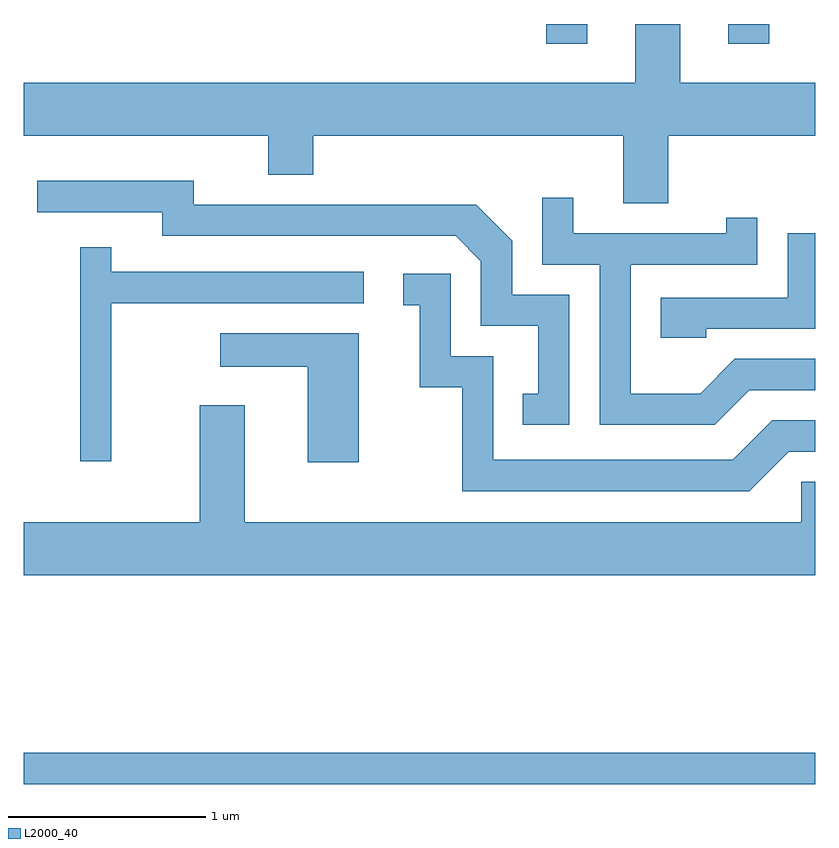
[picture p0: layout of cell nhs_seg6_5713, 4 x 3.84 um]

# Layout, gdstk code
import gdstk
lib = gdstk.Library(unit=1e-6, precision=1e-09)
def R(c, l, rs):  # rectangles x0, y0, x1, y1
    for r in rs: c.add(gdstk.rectangle(r[:2], r[2:], *l))
def P(c, l, *ps):  # polygons
    for p in ps: c.add(gdstk.Polygon(p, *l))
L2000_40 = (2000, 40)

nhs_seg6_5713 = lib.new_cell('nhs_seg6_5713')
R(nhs_seg6_5713, L2000_40, [(359.611,1542.321,363.611,1542.479), (362.251,1546.061,362.459,1546.162), (363.171,1546.061,363.379,1546.162)])
P(nhs_seg6_5713, L2000_40, [(362.869,1545.596),(363.611,1545.596),(363.611,1545.864),(362.929,1545.864),(362.929,1546.162),(362.701,1546.162),(362.701,1545.864),(359.611,1545.864),(359.611,1545.596),(360.846,1545.596),(360.846,1545.401),(361.074,1545.401),(361.074,1545.596),(362.641,1545.596),(362.641,1545.256),(362.869,1545.256)],
  [(362.369,1544.794),(362.079,1544.794),(362.079,1545.067),(361.897,1545.249),(360.469,1545.249),(360.469,1545.369),(359.678,1545.369),(359.678,1545.211),(360.311,1545.211),(360.311,1545.091),(361.794,1545.091),(361.921,1544.964),(361.921,1544.636),(362.211,1544.636),(362.211,1544.294),(362.133,1544.294),(362.133,1544.136),(362.369,1544.136)],
  [(363.277,1544.311),(363.611,1544.311),(363.611,1544.469),(363.204,1544.469),(363.029,1544.294),(362.679,1544.294),(362.679,1544.946),(363.319,1544.946),(363.319,1545.183),(363.161,1545.183),(363.161,1545.104),(362.389,1545.104),(362.389,1545.283),(362.231,1545.283),(362.231,1544.946),(362.521,1544.946),(362.521,1544.136),(363.102,1544.136)],
  [(363.059,1544.621),(363.611,1544.621),(363.611,1545.104),(363.471,1545.104),(363.471,1544.779),(362.831,1544.779),(362.831,1544.576),(363.059,1544.576)],
  [(360.054,1544.751),(361.328,1544.751),(361.328,1544.909),(360.054,1544.909),(360.054,1545.033),(359.896,1545.033),(359.896,1543.953),(360.054,1543.953)],
  [(363.477,1544.001),(363.611,1544.001),(363.611,1544.159),(363.394,1544.159),(363.194,1543.959),(361.984,1543.959),(361.984,1544.484),(361.769,1544.484),(361.769,1544.899),(361.528,1544.899),(361.528,1544.741),(361.611,1544.741),(361.611,1544.326),(361.826,1544.326),(361.826,1543.801),(363.277,1543.801)],
  [(361.304,1544.599),(360.603,1544.599),(360.603,1544.431),(361.046,1544.431),(361.046,1543.946),(361.304,1543.946)],
  [(363.611,1543.849),(363.541,1543.849),(363.541,1543.644),(360.729,1543.644),(360.729,1544.234),(360.501,1544.234),(360.501,1543.644),(359.611,1543.644),(359.611,1543.376),(363.611,1543.376)])

lib.write_gds('nhs_seg6_5713.gds')
